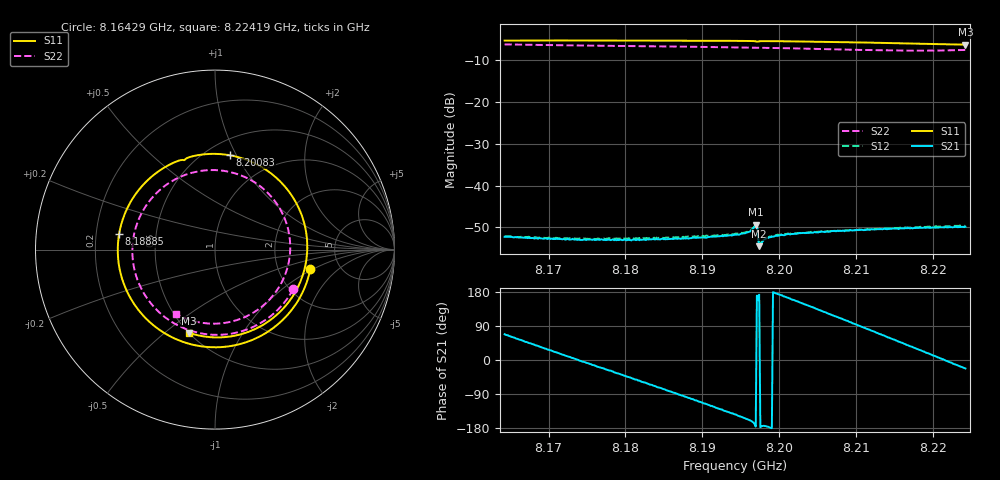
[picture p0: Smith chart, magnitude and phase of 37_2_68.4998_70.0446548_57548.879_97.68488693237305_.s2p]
#  HZ  S  RI  R  50.00
! Rohde & Schwarz Vector Network Analyzer
! Rohde-Schwarz,ZNB20-2Port,1311601062101988,3.16
! Created: UTC 3/20/2024, 5:05:19 PM
! freq[Hz]  re:S11  im:S11  re:S21  im:S21  re:S12  im:S12  re:S22  im:S22
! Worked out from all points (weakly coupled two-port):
!   401 points, 8.16429 GHz to 8.22419 GHz, reference 50 ohm
!   highest |S21| = -49.29 dB at 8.19694 GHz (marker M1); lowest = -54.5 dB at 8.19738 GHz (marker M2)
!   lowest |S11| = -6.3 dB at 8.22419 GHz (marker M3), VSWR 2.89, Z = 25.1 - j30.5 ohm
!   |S11| at or under -10 dB: nowhere
!   |S22| runs from -7.7 to -6.2 dB; largest |S21 - S12| = 0.0002
!   S11 on the Smith chart (normalised r, x): 8.16429 GHz: 3.05, -0.93; 8.18885 GHz: 0.30, +0.07; 8.20083 GHz: 0.64, +0.94; 8.22419 GHz: 0.50, -0.61
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8.164285e9  0.5312 -0.1073  0.000911 0.00227  0.000892 0.00231  0.4358 -0.2207
8.169527e9  0.3587 -0.409  0.00203 0.00118  0.00203 0.00121  0.2158 -0.4292
8.17432e9  0.0657 -0.5405  0.00224 -0.000139  0.00231 -0.000131  -0.0531 -0.4708
8.179112e9  -0.2531 -0.4814  0.00181 -0.00131  0.00187 -0.00139  -0.2977 -0.361
8.184354e9  -0.496 -0.2204  0.000687 -0.00218  0.000698 -0.00228  -0.4481 -0.1149
8.188848e9  -0.5343 0.0865  -0.000583 -0.00231  -0.000657 -0.00238  -0.4385 0.1319
8.191394e9  -0.4765 0.2543  -0.00133 -0.00207  -0.00143 -0.00207  -0.3749 0.2577
8.194239e9  -0.3506 0.4084  -0.00208 -0.00154  -0.0022 -0.00151  -0.2615 0.3678
8.196935e9  -0.1818 0.4998  -0.00342 -0.000257  -0.00352 -0.00013  -0.1239 0.4294
8.197385e9  -0.1615 0.5069  -0.00187 0.000253  -0.00189 0.000326  -0.0994 0.435
8.197684e9  -0.1402 0.5159  -0.00206 -0.000188  -0.00211 -9.96e-05  -0.0827 0.4378
8.198583e9  -0.0765 0.529  -0.00238 -0.000156  -0.00242 -5.16e-05  -0.032 0.443
8.200829e9  0.0821 0.5256  -0.00253 0.000621  -0.00252 0.000765  0.0947 0.4295
8.204274e9  0.3043 0.4308  -0.0021 0.00177  -0.00206 0.00189  0.2694 0.3388
8.20697e9  0.4339 0.2914  -0.00134 0.00253  -0.00127 0.00256  0.3681 0.2161
8.209516e9  0.5026 0.1245  -0.000347 0.00289  -0.000302 0.00292  0.4151 0.0722
8.211912e9  0.5103 -0.0462  0.000634 0.00294  0.000708 0.00293  0.4104 -0.0732
8.214309e9  0.4613 -0.2104  0.00157 0.00259  0.0017 0.00259  0.3553 -0.211
8.217005e9  0.3437 -0.3639  0.00249 0.00182  0.00259 0.00179  0.2382 -0.3349
8.219551e9  0.1865 -0.4582  0.00301 0.000859  0.00314 0.000786  0.0874 -0.402
8.221797e9  0.0276 -0.4893  0.00317 -0.000161  0.00323 -0.000256  -0.0612 -0.4094
8.224194e9  -0.1434 -0.4639  0.00298 -0.00122  0.00301 -0.00142  -0.2149 -0.3599
